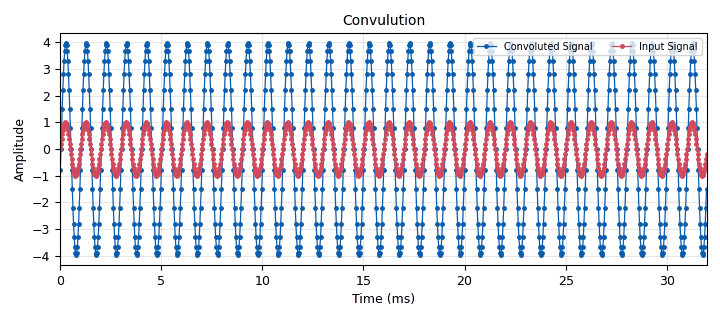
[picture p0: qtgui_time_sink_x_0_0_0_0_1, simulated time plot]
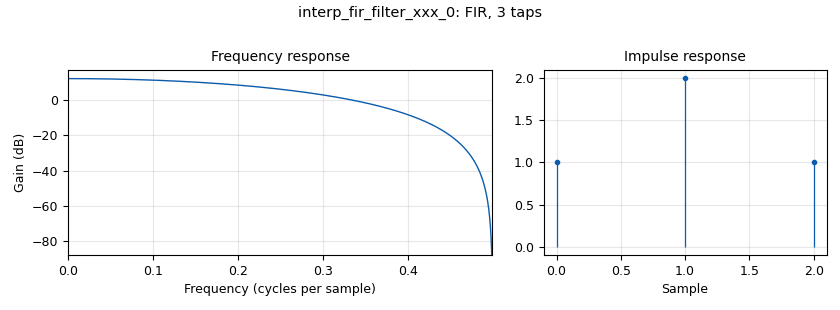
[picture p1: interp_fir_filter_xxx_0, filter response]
options:
  parameters:
    author: RJ
    generate_options: qt_gui
    id: BSP_TDRSS
    output_language: python
    title: BSP_TDRSS
  states: {}

blocks:
- name: samp_rate
  id: variable
  parameters:
    value: '32000'
  states: {}
- name: analog_sig_source_x_0_0
  id: analog_sig_source_x
  parameters:
    amp: '1'
    freq: '1000'
    offset: '0'
    phase: '0'
    samp_rate: samp_rate
    type: float
    waveform: analog.GR_SIN_WAVE
  states: {}
- name: blocks_throttle2_0_0_0_0
  id: blocks_throttle2
  parameters:
    samples_per_second: samp_rate
    type: float
  states: {}
- name: interp_fir_filter_xxx_0
  id: interp_fir_filter_xxx
  parameters:
    interp: '1'
    taps: '[1,2,1]'
    type: fff
  states: {}
- name: qtgui_time_sink_x_0_0_0_0_1
  id: qtgui_time_sink_x
  parameters:
    autoscale: 'True'
    label1: Convoluted Signal
    label2: Input Signal
    marker1: '0'
    marker2: '0'
    name: '"Convulution"'
    nconnections: '2'
    size: '1024'
    srate: samp_rate
    type: float
  states: {}

connections:
- [analog_sig_source_x_0_0, '0', interp_fir_filter_xxx_0, '0']
- [analog_sig_source_x_0_0, '0', qtgui_time_sink_x_0_0_0_0_1, '1']
- [blocks_throttle2_0_0_0_0, '0', qtgui_time_sink_x_0_0_0_0_1, '0']
- [interp_fir_filter_xxx_0, '0', blocks_throttle2_0_0_0_0, '0']

metadata:
  file_format: 1
  grc_version: 3.10.11.0
